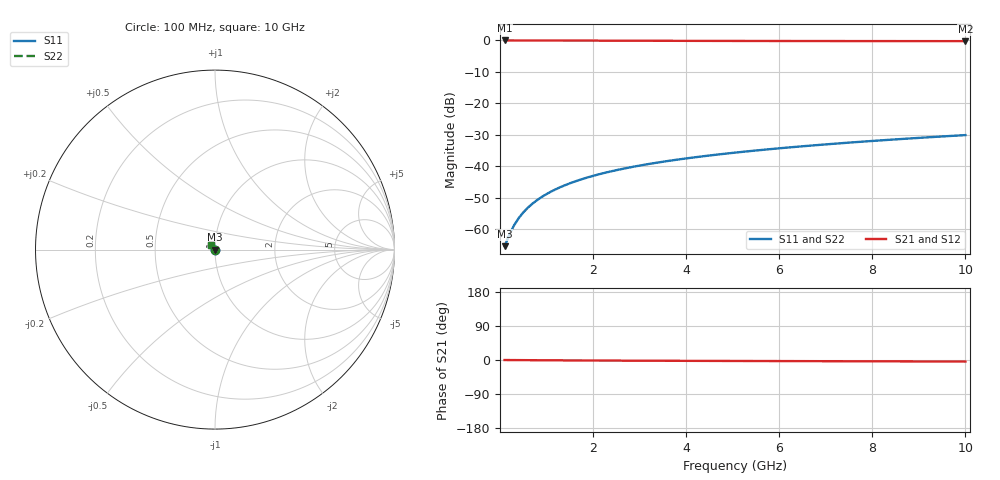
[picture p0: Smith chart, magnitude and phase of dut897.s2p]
! Touchstone file exported from HFSS 2024.1.0
!  File:  C:/UserFiles/LocalFiles/RDL_TSV_Batchsim/temp_TSV1_897_1779885503.aedt
!  Generated:  08:45:46 PM May 27, 2026
!  Design:  TSV1
!  Project:  temp_TSV1_897_1779885503
!  Setup:  Setup1
!  Solution:  Sweep
! Variables:
!  dtsv = 5.14um
!  hbump = 3um
!  htsv = 54.43um
!  lrdl = 252.1521522um
!  p = 40
!  p1 = 53.12um
!  t = 500um
!  trdl = 3um
!  wrdl = 24.89489489um
# GHz S MA R 50.000000
! Terminal data exported
! Port[1] = TSV22_T1
! Port[2] = TSV22_T2
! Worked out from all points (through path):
!   100 points, 100 MHz to 10 GHz, reference 50 ohm
!   highest |S21| = 0.00 dB at 100 MHz (marker M1); lowest = -0.2 dB at 10 GHz (marker M2)
!   lowest |S11| = -65.3 dB at 100 MHz (marker M3), VSWR 1.00, Z = 50 - j0.0375 ohm
!   |S11| at or under -10 dB: start of sweep to end of sweep
!   |S22| runs from -65.3 to -30.1 dB; largest |S21 - S12| = 3.2e-15
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0.1  0.0005422 -43.7  0.9996 -0.1  0.9996 -0.1  0.0005422 -43.7
! Gamma 0 0 0 0
! Port Impedance 50 0 50 0
0.2  0.0008217 -66.3  0.9995 -0.2  0.9995 -0.2  0.0008217 -66.3
0.3  0.001153 -78.3  0.9994 -0.2  0.9994 -0.2  0.001153 -78.3
0.4  0.001501 -86.0  0.9993 -0.3  0.9993 -0.3  0.001501 -86.0
0.5  0.001856 -91.8  0.9991 -0.4  0.9991 -0.4  0.001856 -91.8
0.6  0.002213 -96.6  0.9989 -0.5  0.9989 -0.5  0.002213 -96.6
0.7  0.002571 -100.8  0.9986 -0.5  0.9986 -0.5  0.002571 -100.8
0.9  0.003285 -108.1  0.9981 -0.7  0.9981 -0.7  0.003285 -108.1
1  0.00364 -111.4  0.9978 -0.7  0.9978 -0.7  0.00364 -111.4
1.2  0.004344 -117.6  0.9971 -0.9  0.9971 -0.9  0.004344 -117.6
1.5  0.005386 -126.1  0.9959 -1.1  0.9959 -1.1  0.005386 -126.1
1.8  0.006409 -134.0  0.9946 -1.2  0.9946 -1.2  0.006409 -134.0
2.1  0.007411 -141.3  0.9932 -1.4  0.9932 -1.4  0.007411 -141.3
2.5  0.008718 -150.3  0.9914 -1.6  0.9914 -1.6  0.008718 -150.3
2.9  0.009995 -158.5  0.9896 -1.8  0.9896 -1.8  0.009995 -158.5
3.4  0.01156 -167.7  0.9875 -2.0  0.9875 -2.0  0.01156 -167.7
4.2  0.014 179.8  0.9845 -2.3  0.9845 -2.3  0.014 179.8
5.1  0.01671 168.3  0.9818 -2.6  0.9818 -2.6  0.01671 168.3
5.9  0.01909 159.9  0.9799 -2.8  0.9799 -2.8  0.01909 159.9
6.7  0.02148 152.8  0.9784 -3.1  0.9784 -3.1  0.02148 152.8
8.4  0.02658 141.2  0.9759 -3.6  0.9759 -3.6  0.02658 141.2
10  0.03143 133.1  0.9742 -4.1  0.9742 -4.1  0.03143 133.1
